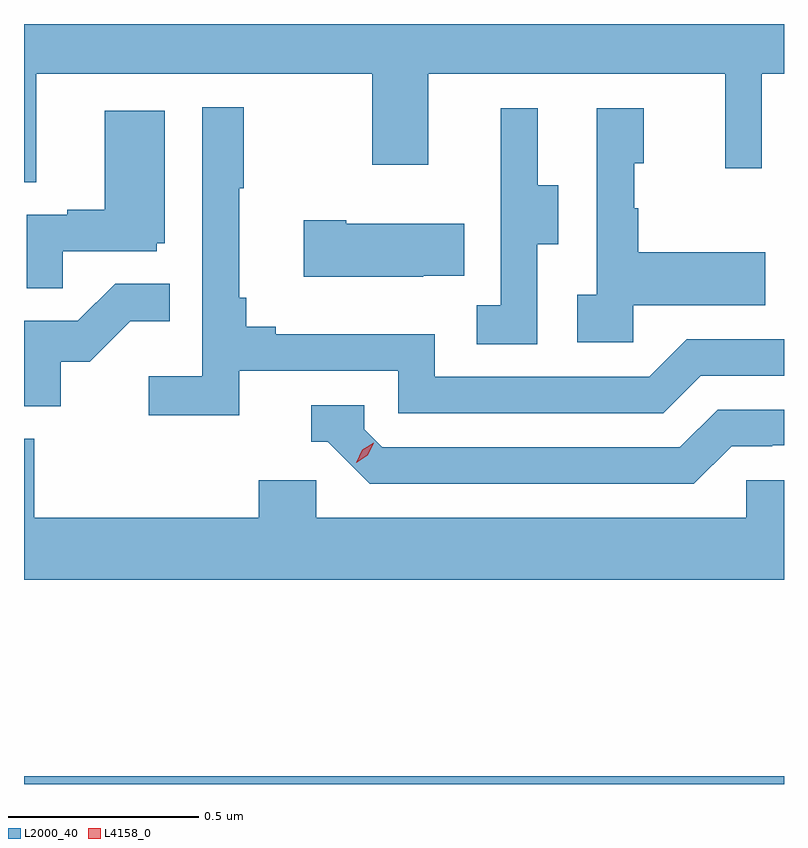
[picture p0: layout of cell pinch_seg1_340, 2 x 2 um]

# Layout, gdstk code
import gdstk
lib = gdstk.Library(unit=1e-6, precision=1e-09)
def R(c, l, rs):  # rectangles x0, y0, x1, y1
    for r in rs: c.add(gdstk.rectangle(r[:2], r[2:], *l))
def P(c, l, *ps):  # polygons
    for p in ps: c.add(gdstk.Polygon(p, *l))
L2000_40 = (2000, 40)
L4158_0 = (4158, 0)

pinch_seg1_340 = lib.new_cell('pinch_seg1_340')
R(pinch_seg1_340, L2000_40, [(949.235,548.531,951.235,548.552)])
P(pinch_seg1_340, L2000_40, [(949.267,550.4),(950.152,550.4),(950.152,550.161),(950.299,550.161),(950.299,550.4),(951.08,550.4),(951.08,550.152),(951.177,550.152),(951.177,550.4),(951.235,550.4),(951.235,550.531),(949.235,550.531),(949.235,550.114),(949.267,550.114)],
  [(949.802,549.618),(950.22,549.618),(950.22,549.507),(950.917,549.507),(951.016,549.606),(951.235,549.606),(951.235,549.702),(950.979,549.702),(950.88,549.603),(950.316,549.603),(950.316,549.715),(949.897,549.715),(949.897,549.734),(949.82,549.734),(949.82,549.811),(949.801,549.811),(949.801,550.099),(949.813,550.099),(949.813,550.312),(949.704,550.312),(949.704,549.604),(949.563,549.604),(949.563,549.502),(949.802,549.502)],
  [(950.838,549.791),(951.185,549.791),(951.185,549.931),(950.851,549.931),(950.851,550.046),(950.841,550.046),(950.841,550.164),(950.866,550.164),(950.866,550.309),(950.742,550.309),(950.742,549.818),(950.691,549.818),(950.691,549.693),(950.838,549.693)],
  [(950.586,549.952),(950.641,549.952),(950.641,550.107),(950.587,550.107),(950.587,550.309),(950.489,550.309),(950.489,550.095),(950.49,550.095),(950.49,549.791),(950.427,549.791),(950.427,549.688),(950.586,549.688)],
  [(949.337,549.933),(949.584,549.933),(949.584,549.954),(949.606,549.954),(949.606,550.303),(949.448,550.303),(949.448,550.042),(949.349,550.042),(949.349,550.029),(949.242,550.029),(949.242,549.835),(949.337,549.835)],
  [(950.285,549.869),(950.393,549.869),(950.393,550.006),(950.083,550.006),(950.083,550.014),(949.971,550.014),(949.971,549.866),(950.285,549.866)],
  [(949.332,549.642),(949.408,549.642),(949.515,549.749),(949.619,549.749),(949.619,549.848),(949.475,549.848),(949.377,549.75),(949.235,549.75),(949.235,549.525),(949.332,549.525)],
  [(951.097,549.42),(951.204,549.42),(951.204,549.423),(951.235,549.423),(951.235,549.516),(951.06,549.516),(950.961,549.417),(950.178,549.417),(950.13,549.465),(950.13,549.528),(949.991,549.528),(949.991,549.432),(950.034,549.432),(950.145,549.321),(950.998,549.321)],
  [(951.235,549.33),(951.135,549.33),(951.135,549.232),(950.004,549.232),(950.004,549.33),(949.853,549.33),(949.853,549.232),(949.262,549.232),(949.262,549.44),(949.235,549.44),(949.235,549.068),(951.235,549.068)])
P(pinch_seg1_340, L4158_0, [(950.109,549.377),(950.109,549.377),(950.125,549.41),(950.156,549.429),(950.156,549.429),(950.156,549.429),(950.14,549.396),(950.109,549.377)])

lib.write_gds('pinch_seg1_340.gds')
